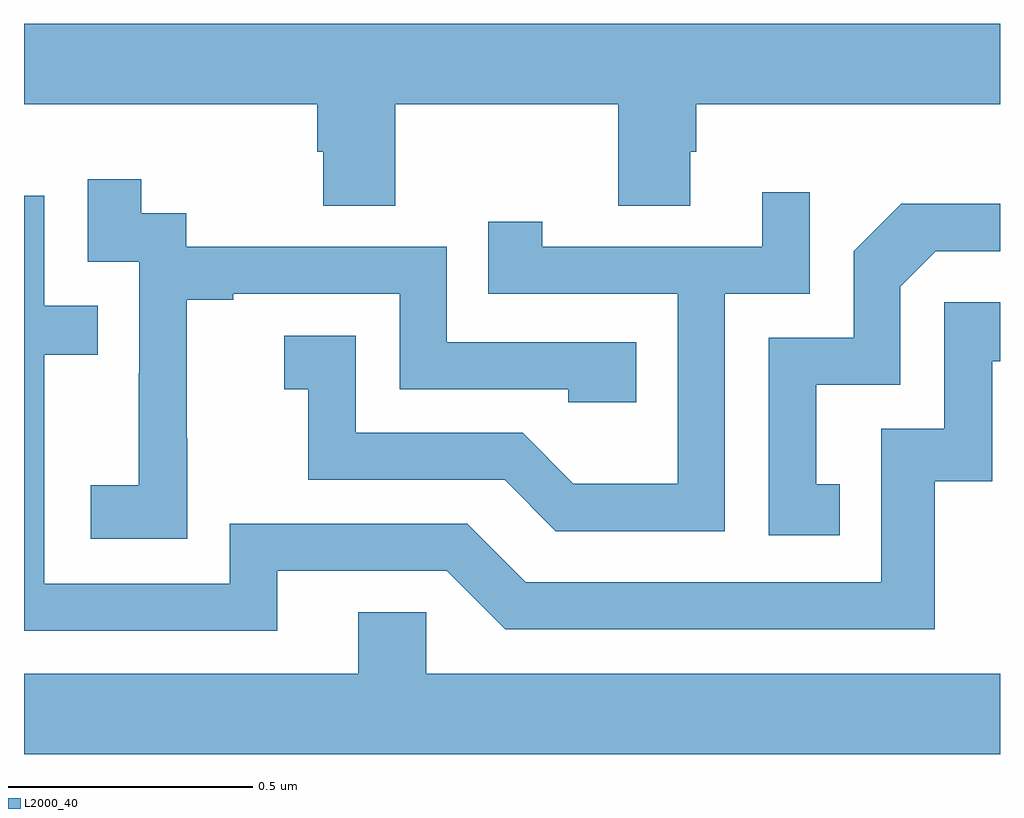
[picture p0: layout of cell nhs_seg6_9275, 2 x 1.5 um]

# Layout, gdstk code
import gdstk
lib = gdstk.Library(unit=1e-6, precision=1e-09)
def P(c, l, *ps):  # polygons
    for p in ps: c.add(gdstk.Polygon(p, *l))
L2000_40 = (2000, 40)

nhs_seg6_9275 = lib.new_cell('nhs_seg6_9275')
P(nhs_seg6_9275, L2000_40, [(232.761,922.028),(233.218,922.028),(233.218,921.82),(233.365,921.82),(233.365,921.93),(233.378,921.93),(233.378,922.028),(234,922.028),(234,922.192),(232,922.192),(232,922.028),(232.601,922.028),(232.601,921.93),(232.613,921.93),(232.613,921.82),(232.761,921.82)],
  [(232.335,921.343),(232.334,921.343),(232.334,921.627),(232.429,921.627),(232.429,921.639),(232.77,921.639),(232.77,921.444),(233.115,921.444),(233.115,921.417),(233.255,921.417),(233.255,921.54),(232.866,921.54),(232.866,921.735),(232.332,921.735),(232.332,921.804),(232.24,921.804),(232.24,921.874),(232.131,921.874),(232.131,921.705),(232.236,921.705),(232.236,921.476),(232.235,921.476),(232.235,921.247),(232.137,921.247),(232.137,921.137),(232.335,921.137)],
  [(233.436,921.639),(233.61,921.639),(233.61,921.847),(233.513,921.847),(233.513,921.735),(233.062,921.735),(233.062,921.787),(232.951,921.787),(232.951,921.639),(233.34,921.639),(233.34,921.25),(233.126,921.25),(233.022,921.354),(232.68,921.354),(232.68,921.553),(232.533,921.553),(232.533,921.443),(232.582,921.443),(232.582,921.258),(232.985,921.258),(233.09,921.153),(233.436,921.153)],
  [(232.519,921.072),(232.866,921.072),(232.986,920.952),(233.866,920.952),(233.866,921.255),(233.984,921.255),(233.984,921.501),(234,921.501),(234,921.622),(233.886,921.622),(233.886,921.363),(233.757,921.363),(233.757,921.048),(233.028,921.048),(232.908,921.168),(232.422,921.168),(232.422,921.045),(232.041,921.045),(232.041,921.514),(232.151,921.514),(232.151,921.615),(232.041,921.615),(232.041,921.84),(232,921.84),(232,920.949),(232.519,920.949)],
  [(233.672,921.249),(233.623,921.249),(233.623,921.453),(233.796,921.453),(233.796,921.654),(233.868,921.726),(234,921.726),(234,921.824),(233.798,921.824),(233.7,921.726),(233.7,921.549),(233.526,921.549),(233.526,921.144),(233.672,921.144)],
  [(234,920.86),(232.824,920.86),(232.824,920.987),(232.685,920.987),(232.685,920.86),(232,920.86),(232,920.696),(234,920.696)])

lib.write_gds('nhs_seg6_9275.gds')
